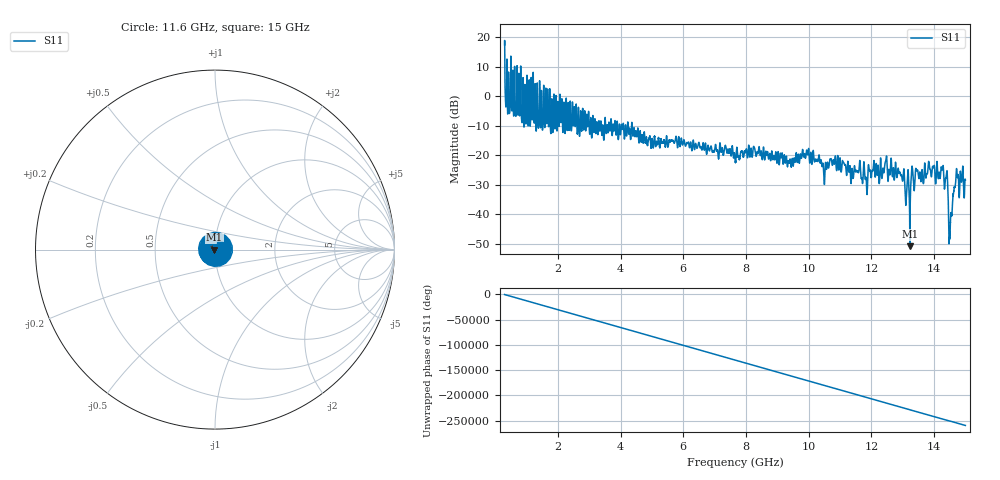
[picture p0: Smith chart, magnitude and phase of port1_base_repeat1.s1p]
# GHZ S RI R 50.0
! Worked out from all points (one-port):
!   12801 points, 300 MHz to 15 GHz, reference 50 ohm
!   lowest |S11| = -50.8 dB at 13.23 GHz (marker M1), VSWR 1.01, Z = 49.7 - j0.0187 ohm
!   |S11| at or under -10 dB: 4.094 GHz to 4.152 GHz (57.62 MHz wide, 1.4 % of centre); 4.239 GHz to 4.35 GHz (110.8 MHz wide, 2.58 % of centre); 4.369 GHz to end of sweep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
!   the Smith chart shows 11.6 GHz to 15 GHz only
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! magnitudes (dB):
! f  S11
! 300 MHz  17.4
! 404.5 MHz  -5.4
! 754.8 MHz  7.8
! 915.6 MHz  -10.3
! 1.21 GHz  6.4
! 1.319 GHz  -10.3
! 2.138 GHz  -6.5
! 3.975 GHz  -11.1
! 5.003 GHz  -14.8
! 5.812 GHz  -17.3
! 7.65 GHz  -21.4
! 8.222 GHz  -18.6
! 9.488 GHz  -21.8
! 9.938 GHz  -18.2
! 10.5 GHz  -29.9
! 10.73 GHz  -22.0
! 11.32 GHz  -25.1
! 11.85 GHz  -32.1
! 12.44 GHz  -22.6
! 12.98 GHz  -28.2
! 13.16 GHz  -25.5
! 13.23 GHz  -50.8
! 13.47 GHz  -25.0
! 14.24 GHz  -24.1
! 14.37 GHz  -27.8
! 14.52 GHz  -41.5
! 14.71 GHz  -25.6
! 15 GHz  -28.3
